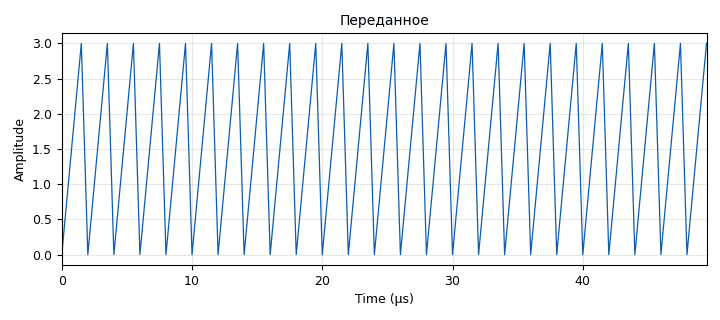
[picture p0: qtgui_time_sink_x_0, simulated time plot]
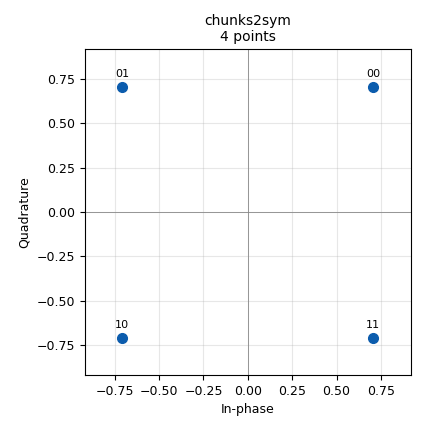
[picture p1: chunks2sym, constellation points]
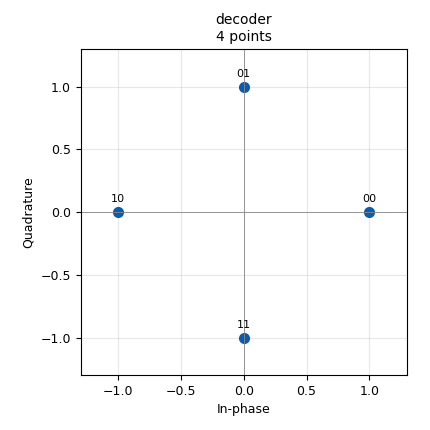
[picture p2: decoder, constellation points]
options:
  parameters:
    author: Lab5
    generate_options: qt_gui
    id: lab5_1_9_5_dqpsk_sdr
    output_language: python
    title: ЛР5 п.1.9.5  DQPSK через SDR (HackRF -> RTL-SDR)
  states: {}

blocks:
- name: samp_rate
  id: variable
  parameters:
    value: 2e6
  states: {}
- name: src
  id: blocks_vector_source_x
  parameters:
    vector: (0, 1, 2, 3)
    repeat: 'True'
    type: byte
  states: {}
- name: sps
  id: variable
  parameters:
    value: '10'
  states: {}
- name: center_freq
  id: variable
  parameters:
    value: 433.92e6
  states: {}
- name: blocks_uchar_to_float_0
  id: blocks_uchar_to_float
  parameters: {}
  states: {}
- name: qtgui_time_sink_x_0
  id: qtgui_time_sink_x
  parameters:
    type: float
    name: '"Переданное"'
    size: '100'
    srate: samp_rate
    grid: 'True'
    autoscale: 'True'
    ymax: '4'
    tr_slope: qtgui.TRIG_MODE_POS
  states: {}
- name: diff_enc
  id: digital_diff_encoder_bb
  parameters:
    coding: digital.DIFF_DIFFERENTIAL
    modulus: '4'
  states: {}
- name: chunks2sym
  id: digital_chunks_to_symbols_xx
  parameters:
    dimension: '1'
    in_type: byte
    out_type: complex
    symbol_table: '[0.707+0.707j, -0.707+0.707j, -0.707-0.707j, 0.707-0.707j]'
  states: {}
- name: tx_gain
  id: variable_qtgui_range
  parameters:
    value: '0'
    start: '0'
    stop: '47'
    step: '1'
    label: '"TX gain (HackRF), дБ"'
  states: {}
- name: rx_gain
  id: variable_qtgui_range
  parameters:
    value: '30'
    start: '0'
    stop: '49'
    step: '1'
    label: '"RX gain (RTL-SDR), дБ"'
  states: {}
- name: ppm
  id: variable_qtgui_range
  parameters:
    value: '0'
    start: '-100'
    stop: '100'
    step: '1'
    label: '"RX ppm"'
  states: {}
- name: blocks_repeat_0
  id: blocks_repeat
  parameters:
    type: complex
    interp: sps
  states: {}
- name: blocks_multiply_const_vxx_0
  id: blocks_multiply_const_vxx
  parameters:
    const: '0.5'
    type: complex
  states: {}
- name: sdr_tx
  id: osmosdr_sink
  parameters:
    args: '"numchan=1 hackrf=0"'
    sample_rate: samp_rate
    freq0: center_freq
    gain0: tx_gain
    if_gain0: '20'
    bb_gain0: '20'
  states: {}
- name: sdr_rx
  id: osmosdr_source
  parameters:
    args: '"numchan=1 rtl=0"'
    sample_rate: samp_rate
    freq0: center_freq
    corr0: ppm
    dc_offset_mode0: '2'
    iq_balance_mode0: '2'
    gain_mode0: 'False'
    gain0: rx_gain
    if_gain0: '20'
    bb_gain0: '20'
  states: {}
- name: analog_agc_xx_0
  id: analog_agc_xx
  parameters:
    rate: '1e-4'
    reference: '1.0'
    gain: '1.0'
    max_gain: '65536'
    type: complex
  states: {}
- name: symsync
  id: digital_symbol_sync_xx
  parameters:
    sps: sps
    ted_gain: '1.0'
    loop_bw: '0.045'
    damping: '1.0'
    max_dev: '1.5'
    osps: '1'
    type: cc
    ted_type: digital.TED_GARDNER
    resamp_type: digital.IR_MMSE_8TAP
  states: {}
- name: qtgui_freq_sink_x_0
  id: qtgui_freq_sink_x
  parameters:
    type: complex
    name: '"Спектр принятого"'
    fftsize: '2048'
    fc: center_freq
    bw: samp_rate
    grid: 'True'
    average: '0.2'
  states: {}
- name: diffphasor
  id: digital_diff_phasor_cc
  parameters: {}
  states: {}
- name: qtgui_const_sink_x_0
  id: qtgui_const_sink_x
  parameters:
    type: complex
    name: '"Созвездие: до (1) / после Differential Phasor (2)"'
    size: '1024'
    grid: 'True'
    ymin: '-1.5'
    ymax: '1.5'
    xmin: '-1.5'
    xmax: '1.5'
    nconnections: '2'
    tr_slope: qtgui.TRIG_MODE_POS
  states: {}
- name: dqpsk
  id: variable_constellation
  parameters:
    sym_map: '[0, 1, 2, 3]'
    const_points: '[1, 1j, -1, -1j]'
    rot_sym: '4'
    dims: '1'
    normalization: digital.constellation.AMPLITUDE_NORMALIZATION
    precision: '8'
    type: calcdist
  states: {}
- name: decoder
  id: digital_constellation_decoder_cb
  parameters:
    constellation: dqpsk
  states: {}
- name: blocks_uchar_to_float_1
  id: blocks_uchar_to_float
  parameters: {}
  states: {}
- name: qtgui_time_sink_x_1
  id: qtgui_time_sink_x
  parameters:
    type: float
    name: '"Принятое"'
    size: '100'
    srate: samp_rate
    grid: 'True'
    autoscale: 'True'
    ymax: '4'
    tr_slope: qtgui.TRIG_MODE_POS
  states: {}

connections:
- [src, '0', blocks_uchar_to_float_0, '0']
- [blocks_uchar_to_float_0, '0', qtgui_time_sink_x_0, '0']
- [src, '0', diff_enc, '0']
- [diff_enc, '0', chunks2sym, '0']
- [chunks2sym, '0', blocks_repeat_0, '0']
- [blocks_repeat_0, '0', blocks_multiply_const_vxx_0, '0']
- [blocks_multiply_const_vxx_0, '0', sdr_tx, '0']
- [sdr_rx, '0', analog_agc_xx_0, '0']
- [analog_agc_xx_0, '0', symsync, '0']
- [sdr_rx, '0', qtgui_freq_sink_x_0, '0']
- [symsync, '0', diffphasor, '0']
- [symsync, '0', qtgui_const_sink_x_0, '0']
- [diffphasor, '0', qtgui_const_sink_x_0, '1']
- [diffphasor, '0', decoder, '0']
- [decoder, '0', blocks_uchar_to_float_1, '0']
- [blocks_uchar_to_float_1, '0', qtgui_time_sink_x_1, '0']

metadata:
  file_format: 1
  grc_version: 3.10.12.0
